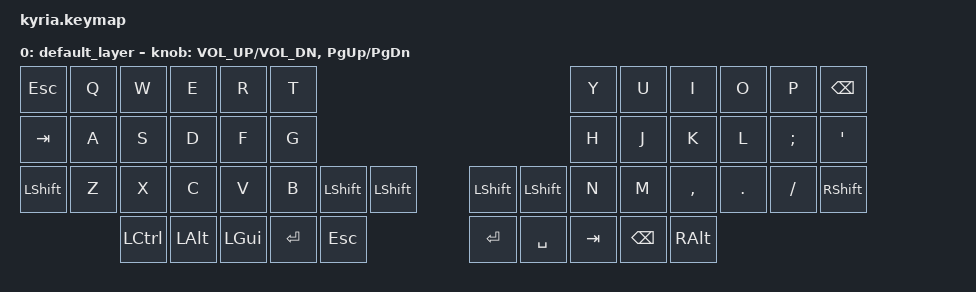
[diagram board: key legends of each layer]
/*
 * Copyright (c) 2020 The ZMK Contributors
 *
 * SPDX-License-Identifier: MIT
 */

#include <behaviors.dtsi>
#include <dt-bindings/zmk/keys.h>

/ {
	keymap {
		compatible = "zmk,keymap";

		default_layer {
// ---------------------------------------------------------------------------------------------------------------------------------
// |  ESC  |  Q  |  W  |  E   |  R   |  T   |                                          |  Y   |  U    |  I    |  O   |   P   | BSPC |
// |  TAB  |  A  |  S  |  D   |  F   |  G   |                                          |  H   |  J    |  K    |  L   |   ;   |   '  |
// | SHIFT |  Z  |  X  |  C   |  V   |  B   | L SHIFT | L SHIFT |  | L SHIFT | L SHIFT |  N   |  M    |  ,    |  .   |   /   | SHFT |
//                     | CTRL | LALT | LGUI |   RET   |   ESC   |  |   RET   |  SPACE  | TAB  | BSPC  | R-ALT |
			bindings = <
	&kp ESC   &kp Q &kp W &kp E &kp R &kp T                                                &kp Y &kp U  &kp I     &kp O   &kp P    &kp BSPC
	&kp TAB   &kp A &kp S &kp D &kp F &kp G                                                &kp H &kp J  &kp K     &kp L   &kp SEMI &kp SQT
	&kp LSHFT &kp Z &kp X &kp C &kp V &kp B &kp LSHFT &kp LSHFT        &kp LSHFT &kp LSHFT &kp N &kp M  &kp COMMA &kp DOT &kp FSLH &kp RSHFT
	                 &kp LCTL &kp LALT &kp LGUI &kp RET &kp ESC        &kp RET  &kp SPACE  &kp TAB &kp BSPC &kp RALT
			>;

			sensor-bindings = <&inc_dec_kp C_VOL_UP C_VOL_DN &inc_dec_kp PG_UP PG_DN>;
		};
	};
};
